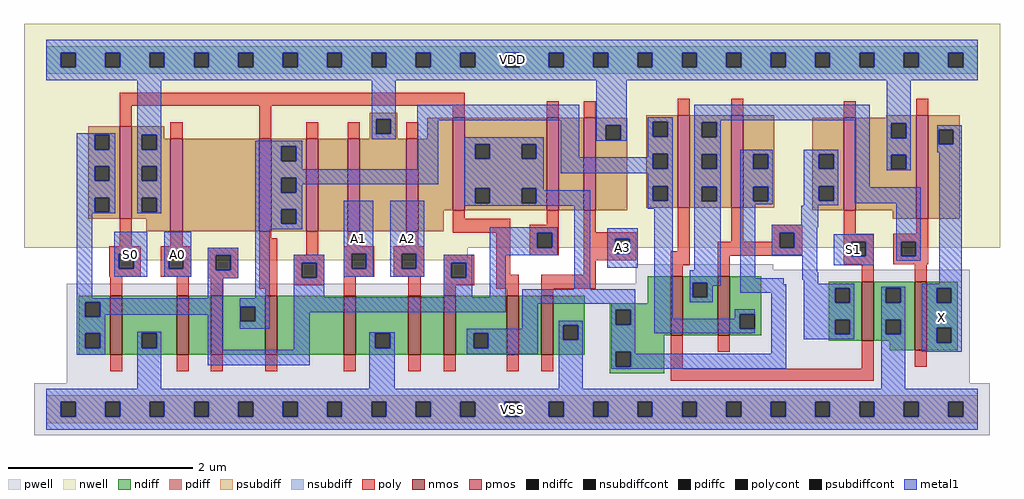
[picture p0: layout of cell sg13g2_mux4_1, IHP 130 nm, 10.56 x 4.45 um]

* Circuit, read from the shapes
.subckt sg13g2_mux4_1 X A1 A2 S0 VDD VSS S1 A0 A3
XM1 VSS S0 n1 VSS sg13_lv_nmos w=0.64u l=0.13u
XM2 n2 A0 VSS VSS sg13_lv_nmos w=0.64u l=0.13u
XM3 n3 n1 n2 VSS sg13_lv_nmos w=0.64u l=0.13u
XM4 n4 S0 n3 VSS sg13_lv_nmos w=0.64u l=0.13u
XM5 VSS A1 n4 VSS sg13_lv_nmos w=0.64u l=0.13u
XM6 n5 A2 VSS VSS sg13_lv_nmos w=0.64u l=0.13u
XM7 n6 n1 n5 VSS sg13_lv_nmos w=0.64u l=0.13u
XM8 n7 S0 n6 VSS sg13_lv_nmos w=0.64u l=0.13u
XM9 VSS A3 n7 VSS sg13_lv_nmos w=0.64u l=0.13u
XM10 n8 S1 n6 VSS sg13_lv_nmos w=0.64u l=0.13u
XM11 n3 n9 n8 VSS sg13_lv_nmos w=0.64u l=0.13u
XM12 VSS S1 n9 VSS sg13_lv_nmos w=0.64u l=0.13u
XM13 X n8 VSS VSS sg13_lv_nmos w=0.74u l=0.13u
XM14 VDD S0 n1 VDD sg13_lv_pmos w=1u l=0.13u
XM15 n10 A0 VDD VDD sg13_lv_pmos w=1u l=0.13u
XM16 n3 S0 n10 VDD sg13_lv_pmos w=1u l=0.13u
XM17 n11 n1 n3 VDD sg13_lv_pmos w=1u l=0.13u
XM18 VDD A1 n11 VDD sg13_lv_pmos w=1u l=0.13u
XM19 n12 A2 VDD VDD sg13_lv_pmos w=1u l=0.13u
XM20 n6 S0 n12 VDD sg13_lv_pmos w=1u l=0.13u
XM21 n13 n1 n6 VDD sg13_lv_pmos w=1u l=0.13u
XM22 VDD A3 n13 VDD sg13_lv_pmos w=1u l=0.13u
XM23 n8 S1 n3 VDD sg13_lv_pmos w=1u l=0.13u
XM24 n6 n9 n8 VDD sg13_lv_pmos w=1u l=0.13u
XM25 VDD S1 n9 VDD sg13_lv_pmos w=1u l=0.13u
XM26 X n8 VDD VDD sg13_lv_pmos w=1.12u l=0.13u
.ends

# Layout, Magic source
magic
tech ihp-sg13g2
magscale 1 2
<< nwell >>
rect -48 350 2064 834
rect 148 323 912 350
<< pwell >>
rect 1276 302 1573 314
rect 1276 272 1999 302
rect 45 56 1999 272
rect -26 -56 2042 56
<< nmos >>
rect 139 118 165 246
rect 282 118 308 246
rect 356 118 382 246
rect 474 118 500 246
rect 644 118 670 246
rect 784 118 810 246
rect 860 118 886 246
rect 997 118 1023 246
rect 1071 118 1097 246
rect 1351 160 1377 288
rect 1453 160 1479 288
rect 1765 148 1791 276
rect 1879 128 1905 276
<< pmos >>
rect 159 412 185 612
rect 269 385 295 585
rect 461 385 487 585
rect 563 385 589 585
rect 653 385 679 585
rect 779 385 805 585
rect 880 431 906 631
rect 1083 431 1109 631
rect 1163 431 1189 631
rect 1367 436 1393 636
rect 1482 436 1508 636
rect 1726 431 1752 631
rect 1883 412 1909 636
<< ndiff >>
rect 71 232 139 246
rect 71 200 85 232
rect 117 200 139 232
rect 71 164 139 200
rect 71 132 85 164
rect 117 132 139 164
rect 71 118 139 132
rect 165 164 282 246
rect 165 132 207 164
rect 239 132 282 164
rect 165 118 282 132
rect 308 118 356 246
rect 382 222 474 246
rect 382 190 420 222
rect 452 190 474 222
rect 382 118 474 190
rect 500 118 644 246
rect 670 164 784 246
rect 670 132 712 164
rect 744 132 784 164
rect 670 118 784 132
rect 810 118 860 246
rect 886 164 997 246
rect 886 132 925 164
rect 957 132 997 164
rect 886 118 997 132
rect 1023 118 1071 246
rect 1097 182 1165 246
rect 1302 229 1351 288
rect 1097 150 1119 182
rect 1151 150 1165 182
rect 1097 118 1165 150
rect 1219 215 1351 229
rect 1219 183 1233 215
rect 1265 183 1351 215
rect 1219 160 1351 183
rect 1377 274 1453 288
rect 1377 242 1399 274
rect 1431 242 1453 274
rect 1377 160 1453 242
rect 1479 206 1547 288
rect 1479 174 1501 206
rect 1533 174 1547 206
rect 1479 160 1547 174
rect 1693 262 1765 276
rect 1693 230 1707 262
rect 1739 230 1765 262
rect 1693 194 1765 230
rect 1693 162 1707 194
rect 1739 162 1765 194
rect 1219 124 1337 160
rect 1219 92 1233 124
rect 1265 92 1337 124
rect 1219 78 1337 92
rect 1693 148 1765 162
rect 1791 262 1879 276
rect 1791 230 1817 262
rect 1849 230 1879 262
rect 1791 194 1879 230
rect 1791 162 1817 194
rect 1849 162 1879 194
rect 1791 148 1879 162
rect 1825 128 1879 148
rect 1905 262 1973 276
rect 1905 230 1927 262
rect 1959 230 1973 262
rect 1905 176 1973 230
rect 1905 144 1927 176
rect 1959 144 1973 176
rect 1905 128 1973 144
<< pdiff >>
rect 91 594 159 612
rect 91 562 105 594
rect 137 562 159 594
rect 91 526 159 562
rect 91 494 105 526
rect 137 494 159 526
rect 91 458 159 494
rect 91 426 105 458
rect 137 426 159 458
rect 91 412 159 426
rect 185 594 255 612
rect 185 562 207 594
rect 239 585 255 594
rect 700 628 760 642
rect 700 596 714 628
rect 746 596 760 628
rect 700 585 760 596
rect 825 585 880 631
rect 239 562 269 585
rect 185 526 269 562
rect 185 494 207 526
rect 239 494 269 526
rect 185 458 269 494
rect 185 426 207 458
rect 239 426 269 458
rect 185 412 269 426
rect 216 385 269 412
rect 295 385 461 585
rect 487 569 563 585
rect 487 537 509 569
rect 541 537 563 569
rect 487 501 563 537
rect 487 469 509 501
rect 541 469 563 501
rect 487 433 563 469
rect 487 401 509 433
rect 541 401 563 433
rect 487 385 563 401
rect 589 385 653 585
rect 679 385 779 585
rect 805 431 880 585
rect 906 574 1083 631
rect 906 542 928 574
rect 960 542 1029 574
rect 1061 542 1083 574
rect 906 478 1083 542
rect 906 446 928 478
rect 960 446 1029 478
rect 1061 446 1083 478
rect 906 431 1083 446
rect 1109 431 1163 631
rect 1189 615 1257 631
rect 1189 583 1211 615
rect 1243 583 1257 615
rect 1189 431 1257 583
rect 1299 622 1367 636
rect 1299 590 1313 622
rect 1345 590 1367 622
rect 1299 553 1367 590
rect 1299 521 1313 553
rect 1345 521 1367 553
rect 1299 483 1367 521
rect 1299 451 1313 483
rect 1345 451 1367 483
rect 1299 436 1367 451
rect 1393 621 1482 636
rect 1393 589 1419 621
rect 1451 589 1482 621
rect 1393 552 1482 589
rect 1393 520 1419 552
rect 1451 520 1482 552
rect 1393 482 1482 520
rect 1393 450 1419 482
rect 1451 450 1482 482
rect 1393 436 1482 450
rect 1508 552 1576 636
rect 1818 631 1883 636
rect 1508 520 1530 552
rect 1562 520 1576 552
rect 1508 482 1576 520
rect 1508 450 1530 482
rect 1562 450 1576 482
rect 1508 436 1576 450
rect 1658 552 1726 631
rect 1658 520 1672 552
rect 1704 520 1726 552
rect 1658 483 1726 520
rect 1658 451 1672 483
rect 1704 451 1726 483
rect 805 385 860 431
rect 1658 431 1726 451
rect 1752 619 1883 631
rect 1752 587 1829 619
rect 1861 587 1883 619
rect 1752 551 1883 587
rect 1752 519 1829 551
rect 1861 519 1883 551
rect 1752 431 1883 519
rect 1832 412 1883 431
rect 1909 605 1977 636
rect 1909 573 1931 605
rect 1963 573 1977 605
rect 1909 412 1977 573
<< ndiffc >>
rect 85 200 117 232
rect 85 132 117 164
rect 207 132 239 164
rect 420 190 452 222
rect 712 132 744 164
rect 925 132 957 164
rect 1119 150 1151 182
rect 1233 183 1265 215
rect 1399 242 1431 274
rect 1501 174 1533 206
rect 1707 230 1739 262
rect 1707 162 1739 194
rect 1233 92 1265 124
rect 1817 230 1849 262
rect 1817 162 1849 194
rect 1927 230 1959 262
rect 1927 144 1959 176
<< pdiffc >>
rect 105 562 137 594
rect 105 494 137 526
rect 105 426 137 458
rect 207 562 239 594
rect 714 596 746 628
rect 207 494 239 526
rect 207 426 239 458
rect 509 537 541 569
rect 509 469 541 501
rect 509 401 541 433
rect 928 542 960 574
rect 1029 542 1061 574
rect 928 446 960 478
rect 1029 446 1061 478
rect 1211 583 1243 615
rect 1313 590 1345 622
rect 1313 521 1345 553
rect 1313 451 1345 483
rect 1419 589 1451 621
rect 1419 520 1451 552
rect 1419 450 1451 482
rect 1530 520 1562 552
rect 1530 450 1562 482
rect 1672 520 1704 552
rect 1672 451 1704 483
rect 1829 587 1861 619
rect 1829 519 1861 551
rect 1931 573 1963 605
<< psubdiff >>
rect 0 16 2016 30
rect 0 -16 32 16
rect 64 -16 128 16
rect 160 -16 224 16
rect 256 -16 320 16
rect 352 -16 416 16
rect 448 -16 512 16
rect 544 -16 608 16
rect 640 -16 704 16
rect 736 -16 800 16
rect 832 -16 896 16
rect 928 -16 992 16
rect 1024 -16 1088 16
rect 1120 -16 1184 16
rect 1216 -16 1280 16
rect 1312 -16 1376 16
rect 1408 -16 1472 16
rect 1504 -16 1568 16
rect 1600 -16 1664 16
rect 1696 -16 1760 16
rect 1792 -16 1856 16
rect 1888 -16 1952 16
rect 1984 -16 2016 16
rect 0 -30 2016 -16
<< nsubdiff >>
rect 0 772 2016 786
rect 0 740 32 772
rect 64 740 128 772
rect 160 740 224 772
rect 256 740 320 772
rect 352 740 416 772
rect 448 740 512 772
rect 544 740 608 772
rect 640 740 704 772
rect 736 740 800 772
rect 832 740 896 772
rect 928 740 992 772
rect 1024 740 1088 772
rect 1120 740 1184 772
rect 1216 740 1280 772
rect 1312 740 1376 772
rect 1408 740 1472 772
rect 1504 740 1568 772
rect 1600 740 1664 772
rect 1696 740 1760 772
rect 1792 740 1856 772
rect 1888 740 1952 772
rect 1984 740 2016 772
rect 0 726 2016 740
<< psubdiffcont >>
rect 32 -16 64 16
rect 128 -16 160 16
rect 224 -16 256 16
rect 320 -16 352 16
rect 416 -16 448 16
rect 512 -16 544 16
rect 608 -16 640 16
rect 704 -16 736 16
rect 800 -16 832 16
rect 896 -16 928 16
rect 992 -16 1024 16
rect 1088 -16 1120 16
rect 1184 -16 1216 16
rect 1280 -16 1312 16
rect 1376 -16 1408 16
rect 1472 -16 1504 16
rect 1568 -16 1600 16
rect 1664 -16 1696 16
rect 1760 -16 1792 16
rect 1856 -16 1888 16
rect 1952 -16 1984 16
<< nsubdiffcont >>
rect 32 740 64 772
rect 128 740 160 772
rect 224 740 256 772
rect 320 740 352 772
rect 416 740 448 772
rect 512 740 544 772
rect 608 740 640 772
rect 704 740 736 772
rect 800 740 832 772
rect 896 740 928 772
rect 992 740 1024 772
rect 1088 740 1120 772
rect 1184 740 1216 772
rect 1280 740 1312 772
rect 1376 740 1408 772
rect 1472 740 1504 772
rect 1568 740 1600 772
rect 1664 740 1696 772
rect 1760 740 1792 772
rect 1856 740 1888 772
rect 1952 740 1984 772
<< poly >>
rect 159 657 906 685
rect 159 612 185 657
rect 269 585 295 621
rect 461 585 487 657
rect 880 631 906 657
rect 1083 631 1109 667
rect 1163 631 1189 667
rect 1367 636 1393 672
rect 1482 636 1508 672
rect 563 585 589 621
rect 653 585 679 621
rect 779 585 805 621
rect 159 353 185 412
rect 1726 631 1752 667
rect 1883 636 1909 672
rect 880 412 906 431
rect 269 353 295 385
rect 461 370 487 385
rect 137 336 205 353
rect 137 304 157 336
rect 189 304 205 336
rect 137 287 205 304
rect 248 336 314 353
rect 248 304 265 336
rect 297 304 314 336
rect 248 287 314 304
rect 350 333 416 350
rect 350 301 367 333
rect 399 301 416 333
rect 139 246 165 287
rect 282 246 308 287
rect 350 284 416 301
rect 356 246 382 284
rect 461 261 500 370
rect 563 334 589 385
rect 653 353 679 385
rect 779 353 805 385
rect 880 382 1004 412
rect 1083 399 1109 431
rect 644 336 710 353
rect 536 317 602 334
rect 536 285 553 317
rect 585 285 602 317
rect 536 268 602 285
rect 644 304 661 336
rect 693 304 710 336
rect 644 287 710 304
rect 752 336 818 353
rect 752 304 769 336
rect 801 304 818 336
rect 752 287 818 304
rect 860 317 926 334
rect 474 246 500 261
rect 644 246 670 287
rect 784 246 810 287
rect 860 285 877 317
rect 909 285 926 317
rect 860 268 926 285
rect 974 291 1004 382
rect 1046 382 1109 399
rect 1046 350 1063 382
rect 1095 350 1109 382
rect 1046 333 1109 350
rect 1163 383 1189 431
rect 1163 369 1277 383
rect 1163 337 1231 369
rect 1263 337 1277 369
rect 1367 342 1393 436
rect 1482 362 1508 436
rect 1570 382 1636 399
rect 1570 362 1587 382
rect 1163 323 1277 337
rect 1163 291 1189 323
rect 860 246 886 268
rect 974 261 1023 291
rect 997 246 1023 261
rect 1071 261 1189 291
rect 1351 312 1393 342
rect 1453 350 1587 362
rect 1619 350 1636 382
rect 1453 332 1636 350
rect 1726 380 1752 431
rect 1883 380 1909 412
rect 1726 363 1791 380
rect 1351 288 1377 312
rect 1453 288 1479 332
rect 1726 331 1742 363
rect 1774 331 1791 363
rect 1726 314 1791 331
rect 1833 363 1909 380
rect 1833 331 1850 363
rect 1882 331 1909 363
rect 1833 314 1909 331
rect 1071 246 1097 261
rect 1765 276 1791 314
rect 1879 276 1905 314
rect 139 82 165 118
rect 282 82 308 118
rect 356 82 382 118
rect 474 82 500 118
rect 644 82 670 118
rect 784 82 810 118
rect 860 82 886 118
rect 997 82 1023 118
rect 1071 82 1097 118
rect 1351 88 1377 160
rect 1453 124 1479 160
rect 1765 88 1791 148
rect 1879 92 1905 128
rect 1351 62 1791 88
<< polycont >>
rect 157 304 189 336
rect 265 304 297 336
rect 367 301 399 333
rect 553 285 585 317
rect 661 304 693 336
rect 769 304 801 336
rect 877 285 909 317
rect 1063 350 1095 382
rect 1231 337 1263 369
rect 1587 350 1619 382
rect 1742 331 1774 363
rect 1850 331 1882 363
<< metal1 >>
rect 0 772 2016 800
rect 0 740 32 772
rect 64 740 128 772
rect 160 740 224 772
rect 256 740 320 772
rect 352 740 416 772
rect 448 740 512 772
rect 544 740 608 772
rect 640 740 704 772
rect 736 740 800 772
rect 832 740 896 772
rect 928 740 992 772
rect 1024 740 1088 772
rect 1120 740 1184 772
rect 1216 740 1280 772
rect 1312 740 1376 772
rect 1408 740 1472 772
rect 1504 740 1568 772
rect 1600 740 1664 772
rect 1696 740 1760 772
rect 1792 740 1856 772
rect 1888 740 1952 772
rect 1984 740 2016 772
rect 0 712 2016 740
rect 66 594 149 597
rect 66 562 105 594
rect 137 562 149 594
rect 66 526 149 562
rect 66 494 105 526
rect 137 494 149 526
rect 66 458 149 494
rect 66 426 105 458
rect 137 426 149 458
rect 66 424 149 426
rect 197 594 249 712
rect 197 562 207 594
rect 239 562 249 594
rect 704 628 756 712
rect 704 596 714 628
rect 746 596 756 628
rect 704 584 756 596
rect 803 625 1154 659
rect 197 526 249 562
rect 197 494 207 526
rect 239 494 249 526
rect 197 458 249 494
rect 197 426 207 458
rect 239 426 249 458
rect 197 424 249 426
rect 452 569 554 581
rect 452 537 509 569
rect 541 537 554 569
rect 452 519 554 537
rect 803 519 848 625
rect 452 501 848 519
rect 452 469 509 501
rect 541 487 848 501
rect 905 574 1077 589
rect 905 542 928 574
rect 960 542 1029 574
rect 1061 542 1077 574
rect 541 469 554 487
rect 452 433 554 469
rect 905 478 1077 542
rect 1114 545 1154 625
rect 1190 615 1256 712
rect 1190 583 1211 615
rect 1243 583 1256 615
rect 1190 581 1256 583
rect 1302 622 1356 632
rect 1302 590 1313 622
rect 1345 590 1356 622
rect 1302 553 1356 590
rect 1302 545 1313 553
rect 1114 521 1313 545
rect 1345 521 1356 553
rect 1114 511 1356 521
rect 66 240 100 424
rect 452 401 509 433
rect 541 401 554 433
rect 452 390 554 401
rect 147 336 219 384
rect 147 304 157 336
rect 189 304 219 336
rect 147 287 219 304
rect 255 336 314 384
rect 255 304 265 336
rect 297 304 314 336
rect 255 287 314 304
rect 350 333 416 350
rect 350 301 367 333
rect 399 301 416 333
rect 350 284 416 301
rect 350 240 383 284
rect 452 240 484 390
rect 644 336 708 451
rect 66 232 383 240
rect 66 200 85 232
rect 117 204 383 232
rect 117 200 128 204
rect 66 164 128 200
rect 66 132 85 164
rect 117 132 128 164
rect 66 118 128 132
rect 197 164 249 168
rect 197 132 207 164
rect 239 132 249 164
rect 197 44 249 132
rect 350 129 383 204
rect 419 222 484 240
rect 419 190 420 222
rect 452 190 484 222
rect 419 174 484 190
rect 536 317 602 334
rect 536 285 553 317
rect 585 285 602 317
rect 644 304 661 336
rect 693 304 708 336
rect 644 287 708 304
rect 744 336 818 451
rect 905 446 928 478
rect 960 446 1029 478
rect 1061 474 1077 478
rect 1302 483 1356 511
rect 1061 446 1177 474
rect 905 440 1177 446
rect 744 304 769 336
rect 801 304 818 336
rect 960 382 1107 394
rect 960 350 1063 382
rect 1095 350 1107 382
rect 744 287 818 304
rect 860 317 922 334
rect 536 242 602 285
rect 860 285 877 317
rect 909 285 922 317
rect 860 242 922 285
rect 960 333 1107 350
rect 960 242 994 333
rect 1143 260 1177 440
rect 1302 451 1313 483
rect 1345 451 1356 483
rect 1302 434 1356 451
rect 1214 369 1280 392
rect 1214 337 1231 369
rect 1263 337 1280 369
rect 1214 306 1280 337
rect 536 210 994 242
rect 1030 228 1275 260
rect 536 129 570 210
rect 1030 174 1064 228
rect 1223 215 1275 228
rect 350 95 570 129
rect 699 164 754 167
rect 699 132 712 164
rect 744 132 754 164
rect 699 44 754 132
rect 910 164 1064 174
rect 910 132 925 164
rect 957 132 1064 164
rect 910 119 1064 132
rect 1109 182 1161 192
rect 1109 150 1119 182
rect 1151 150 1161 182
rect 1109 44 1161 150
rect 1223 183 1233 215
rect 1265 183 1275 215
rect 1223 124 1275 183
rect 1316 196 1356 434
rect 1402 625 1782 659
rect 1402 621 1460 625
rect 1402 589 1419 621
rect 1451 589 1460 621
rect 1402 552 1460 589
rect 1402 520 1419 552
rect 1451 520 1460 552
rect 1402 482 1460 520
rect 1402 450 1419 482
rect 1451 450 1460 482
rect 1402 301 1460 450
rect 1393 274 1460 301
rect 1393 242 1399 274
rect 1431 267 1460 274
rect 1502 552 1572 562
rect 1502 520 1530 552
rect 1562 520 1572 552
rect 1502 482 1572 520
rect 1502 450 1530 482
rect 1562 450 1572 482
rect 1502 444 1572 450
rect 1639 552 1714 562
rect 1639 520 1672 552
rect 1704 520 1714 552
rect 1639 483 1714 520
rect 1639 451 1672 483
rect 1704 451 1714 483
rect 1502 284 1534 444
rect 1639 441 1714 451
rect 1750 480 1782 625
rect 1819 619 1871 712
rect 1819 587 1829 619
rect 1861 587 1871 619
rect 1819 551 1871 587
rect 1928 605 1981 615
rect 1928 573 1931 605
rect 1963 573 1981 605
rect 1928 556 1981 573
rect 1819 519 1829 551
rect 1861 519 1871 551
rect 1819 517 1871 519
rect 1750 446 1892 480
rect 1639 440 1671 441
rect 1634 399 1671 440
rect 1570 394 1671 399
rect 1570 382 1668 394
rect 1570 350 1587 382
rect 1619 350 1668 382
rect 1570 333 1668 350
rect 1636 297 1668 333
rect 1704 363 1791 379
rect 1704 331 1742 363
rect 1774 331 1791 363
rect 1704 312 1791 331
rect 1840 363 1892 446
rect 1840 331 1850 363
rect 1882 331 1892 363
rect 1840 321 1892 331
rect 1502 270 1596 284
rect 1636 280 1671 297
rect 1639 272 1671 280
rect 1933 272 1981 556
rect 1431 242 1442 267
rect 1502 252 1601 270
rect 1393 232 1442 242
rect 1490 206 1533 216
rect 1490 196 1501 206
rect 1316 174 1501 196
rect 1316 164 1533 174
rect 1223 92 1233 124
rect 1265 120 1275 124
rect 1569 120 1601 252
rect 1639 262 1749 272
rect 1639 230 1707 262
rect 1739 230 1749 262
rect 1639 194 1749 230
rect 1639 162 1707 194
rect 1739 162 1749 194
rect 1639 152 1749 162
rect 1807 262 1859 265
rect 1807 230 1817 262
rect 1849 230 1859 262
rect 1807 194 1859 230
rect 1807 162 1817 194
rect 1849 162 1859 194
rect 1265 92 1601 120
rect 1223 88 1601 92
rect 1807 44 1859 162
rect 1895 262 1981 272
rect 1895 230 1927 262
rect 1959 230 1981 262
rect 1895 176 1981 230
rect 1895 144 1927 176
rect 1959 144 1981 176
rect 1895 124 1981 144
rect 0 16 2016 44
rect 0 -16 32 16
rect 64 -16 128 16
rect 160 -16 224 16
rect 256 -16 320 16
rect 352 -16 416 16
rect 448 -16 512 16
rect 544 -16 608 16
rect 640 -16 704 16
rect 736 -16 800 16
rect 832 -16 896 16
rect 928 -16 992 16
rect 1024 -16 1088 16
rect 1120 -16 1184 16
rect 1216 -16 1280 16
rect 1312 -16 1376 16
rect 1408 -16 1472 16
rect 1504 -16 1568 16
rect 1600 -16 1664 16
rect 1696 -16 1760 16
rect 1792 -16 1856 16
rect 1888 -16 1952 16
rect 1984 -16 2016 16
rect 0 -44 2016 -16
<< labels >>
flabel metal1 s 1895 124 1981 272 0 FreeSans 400 0 0 0 X
port 2 nsew
flabel metal1 s 644 287 708 451 0 FreeSans 400 0 0 0 A1
port 3 nsew
flabel metal1 s 744 287 818 451 0 FreeSans 400 0 0 0 A2
port 4 nsew
flabel metal1 s 147 287 219 384 0 FreeSans 400 0 0 0 S0
port 5 nsew
flabel metal1 s 0 712 2016 800 0 FreeSans 400 0 0 0 VDD
port 6 nsew
flabel metal1 s 0 -44 2016 44 0 FreeSans 400 0 0 0 VSS
port 7 nsew
flabel metal1 s 1704 312 1791 379 0 FreeSans 400 0 0 0 S1
port 8 nsew
flabel metal1 s 255 287 314 384 0 FreeSans 400 0 0 0 A0
port 9 nsew
flabel metal1 s 1214 306 1280 392 0 FreeSans 400 0 0 0 A3
port 10 nsew
<< properties >>
string FIXED_BBOX 0 0 2016 756
string GDS_END 144526
string GDS_FILE 6_final.gds
string GDS_START 132432
<< end >>
